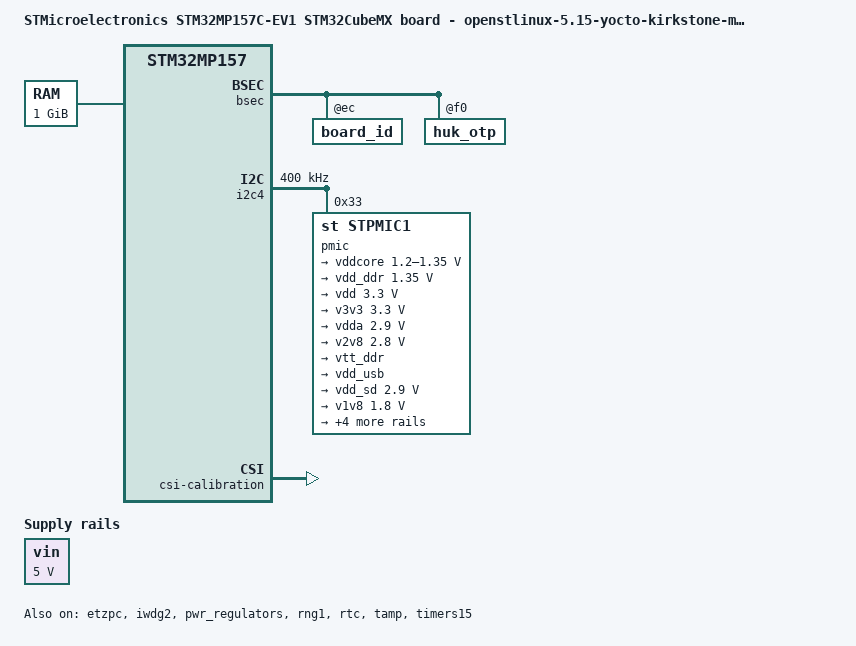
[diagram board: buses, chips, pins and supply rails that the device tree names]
/dts-v1/;
#include <dt-bindings/pinctrl/stm32-pinfunc.h>
#include <dt-bindings/clock/stm32mp1-clksrc.h>
#include <dt-bindings/soc/stm32mp15-etzpc.h>
#include "stm32mp157.dtsi"
#include "stm32mp15xc.dtsi"
#include "stm32mp15xxaa-pinctrl.dtsi"

/* USER CODE BEGIN includes */
#include <dt-bindings/power/stm32mp1-power.h>
/* USER CODE END includes */

/{
	model = "STMicroelectronics STM32MP157C-EV1 STM32CubeMX board - openstlinux-5.15-yocto-kirkstone-mp1-v22.06.15";
	compatible = "st,stm32mp157c-board_157c-ev1-mx", "st,stm32mp157";

	/* USER CODE BEGIN root */

	aliases{
		serial0 = &uart4;
	};

	vin:vin{
		compatible = "regulator-fixed";
		regulator-name = "vin";
		regulator-min-microvolt = <5000000>;
		regulator-max-microvolt = <5000000>;
		regulator-always-on;
	};

	chosen{
		stdout-path = "serial0:115200n8";
	};
	/* USER CODE END root */

	memory@c0000000{
		device_type = "memory";
		reg = <0xc0000000 0x40000000>;
	};

	reserved-memory{
		#address-cells = <1>;
		#size-cells = <1>;
		ranges;
	};

	clocks{

		clk_hsi:clk-hsi{
			clock-frequency = <64000000>;
		};

		clk_lse:clk-lse{
			clock-frequency = <32768>;
			st,drive = < LSEDRV_MEDIUM_HIGH >;
		};

		clk_hse:clk-hse{
			clock-frequency = <24000000>;
			st,digbypass;
		};
	};
};

&pinctrl{
	/* USER CODE BEGIN pinctrl */
	/* USER CODE END pinctrl */
};

&pinctrl_z{

	i2c4_pins_z_mx:i2c4_mx-0{

		pins{
			pinmux = <STM32_PINMUX('Z', 4, AF6)>,
					<STM32_PINMUX('Z', 5, AF6)>;
			bias-disable;
			drive-open-drain;
			slew-rate = <0>;
		};
	};
};

&bsec{
	status = "okay";

	/* USER CODE BEGIN bsec */

	board_id:board_id@ec{
		reg = <0xec 0x4>;
		st,non-secure-otp;
	};

	huk_otp:huk_otp@f0{
		reg = <0xf0 0x10>;
	};
	/* USER CODE END bsec */
};

&etzpc{
	status = "okay";
	st,decprot = <
	
	DECPROT(STM32MP1_ETZPC_CRYP1_ID, DECPROT_NS_RW, DECPROT_UNLOCK)
	DECPROT(STM32MP1_ETZPC_DCMI_ID, DECPROT_NS_RW, DECPROT_UNLOCK)
	DECPROT(STM32MP1_ETZPC_DFSDM_ID, DECPROT_NS_RW, DECPROT_UNLOCK)
	DECPROT(STM32MP1_ETZPC_DMA1_ID, DECPROT_NS_RW, DECPROT_UNLOCK)
	DECPROT(STM32MP1_ETZPC_DMA2_ID, DECPROT_NS_RW, DECPROT_UNLOCK)
	DECPROT(STM32MP1_ETZPC_DMAMUX_ID, DECPROT_NS_RW, DECPROT_UNLOCK)
	DECPROT(STM32MP1_ETZPC_ETH_ID, DECPROT_NS_RW, DECPROT_UNLOCK)
	DECPROT(STM32MP1_ETZPC_TT_FDCAN_ID, DECPROT_NS_RW, DECPROT_UNLOCK)
	DECPROT(STM32MP1_ETZPC_FMC_ID, DECPROT_NS_RW, DECPROT_UNLOCK)
	DECPROT(STM32MP1_ETZPC_HASH1_ID, DECPROT_NS_RW, DECPROT_UNLOCK)
	DECPROT(STM32MP1_ETZPC_CEC_ID, DECPROT_NS_RW, DECPROT_UNLOCK)
	DECPROT(STM32MP1_ETZPC_I2C2_ID, DECPROT_NS_RW, DECPROT_UNLOCK)
	DECPROT(STM32MP1_ETZPC_I2C4_ID, DECPROT_NS_RW, DECPROT_UNLOCK)
	DECPROT(STM32MP1_ETZPC_I2C5_ID, DECPROT_NS_RW, DECPROT_UNLOCK)
	DECPROT(STM32MP1_ETZPC_QSPI_ID, DECPROT_NS_RW, DECPROT_UNLOCK)
	DECPROT(STM32MP1_ETZPC_DLYBQ_ID, DECPROT_NS_RW, DECPROT_UNLOCK)
	DECPROT(STM32MP1_ETZPC_SAI2_ID, DECPROT_NS_RW, DECPROT_UNLOCK)
	DECPROT(STM32MP1_ETZPC_SAI4_ID, DECPROT_NS_RW, DECPROT_UNLOCK)
	DECPROT(STM32MP1_ETZPC_SPDIFRX_ID, DECPROT_NS_RW, DECPROT_UNLOCK)
	DECPROT(STM32MP1_ETZPC_TIM6_ID, DECPROT_NS_RW, DECPROT_UNLOCK)
	DECPROT(STM32MP1_ETZPC_UART4_ID, DECPROT_NS_RW, DECPROT_UNLOCK)
	DECPROT(STM32MP1_ETZPC_OTG_ID, DECPROT_NS_RW, DECPROT_UNLOCK)
	
	DECPROT(STM32MP1_ETZPC_DDRCTRL_ID, DECPROT_NS_R_S_W, DECPROT_LOCK)
	DECPROT(STM32MP1_ETZPC_DDRPHYC_ID, DECPROT_NS_R_S_W, DECPROT_LOCK)
	
	DECPROT(STM32MP1_ETZPC_RNG1_ID, DECPROT_S_RW, DECPROT_UNLOCK)
	DECPROT(STM32MP1_ETZPC_STGENC_ID, DECPROT_S_RW, DECPROT_UNLOCK)

	

	
	
	>;
};

&i2c4{
	pinctrl-names = "default";
	pinctrl-0 = <&i2c4_pins_z_mx>;
	status = "okay";

	/* USER CODE BEGIN i2c4 */
	compatible = "st,stm32mp15-i2c-non-secure";
	i2c-scl-rising-time-ns = <185>;
	i2c-scl-falling-time-ns = <20>;
	clock-frequency = <400000>;

	pmic:stpmic@33{
		compatible = "st,stpmic1";
		reg = <0x33>;
		interrupt-controller;
		#interrupt-cells = <2>;
		status = "okay";

		regulators{
			compatible = "st,stpmic1-regulators";
			buck1-supply = <&vin>;
			buck2-supply = <&vin>;
			buck3-supply = <&vin>;
			buck4-supply = <&vin>;
			ldo1-supply = <&v3v3>;
			ldo2-supply = <&v3v3>;
			ldo3-supply = <&vdd_ddr>;
			ldo4-supply = <&vin>;
			ldo5-supply = <&v3v3>;
			ldo6-supply = <&v3v3>;
			vref_ddr-supply = <&vin>;
			boost-supply = <&vin>;
			pwr_sw1-supply = <&bst_out>;
			pwr_sw2-supply = <&bst_out>;

			vddcore:buck1{
				regulator-name = "vddcore";
				regulator-min-microvolt = <1200000>;
				regulator-max-microvolt = <1350000>;
				regulator-always-on;
				regulator-initial-mode = <0>;
				regulator-over-current-protection;

				lp-stop{
					regulator-on-in-suspend;
					regulator-suspend-microvolt = <1200000>;
				};

				lplv-stop{
					regulator-on-in-suspend;
					regulator-suspend-microvolt = <900000>;
				};

				standby-ddr-sr{
					regulator-off-in-suspend;
				};

				standby-ddr-off{
					regulator-off-in-suspend;
				};
			};

			vdd_ddr:buck2{
				regulator-name = "vdd_ddr";
				regulator-min-microvolt = <1350000>;
				regulator-max-microvolt = <1350000>;
				regulator-always-on;
				regulator-initial-mode = <0>;
				regulator-over-current-protection;

				lp-stop{
					regulator-suspend-microvolt = <1350000>;
					regulator-on-in-suspend;
				};

				lplv-stop{
					regulator-suspend-microvolt = <1350000>;
					regulator-on-in-suspend;
				};

				standby-ddr-sr{
					regulator-suspend-microvolt = <1350000>;
					regulator-on-in-suspend;
				};

				standby-ddr-off{
					regulator-off-in-suspend;
				};
			};

			vdd:buck3{
				regulator-name = "vdd";
				regulator-min-microvolt = <3300000>;
				regulator-max-microvolt = <3300000>;
				regulator-always-on;
				st,mask-reset;
				regulator-initial-mode = <0>;
				regulator-over-current-protection;

				lp-stop{
					regulator-suspend-microvolt = <3300000>;
					regulator-on-in-suspend;
				};

				lplv-stop{
					regulator-suspend-microvolt = <3300000>;
					regulator-on-in-suspend;
				};

				standby-ddr-sr{
					regulator-suspend-microvolt = <3300000>;
					regulator-on-in-suspend;
				};

				standby-ddr-off{
					regulator-suspend-microvolt = <3300000>;
					regulator-on-in-suspend;
				};
			};

			v3v3:buck4{
				regulator-name = "v3v3";
				regulator-min-microvolt = <3300000>;
				regulator-max-microvolt = <3300000>;
				regulator-always-on;
				regulator-over-current-protection;
				regulator-initial-mode = <0>;

				standby-ddr-sr{
					regulator-off-in-suspend;
				};

				standby-ddr-off{
					regulator-off-in-suspend;
				};
			};

			vdda:ldo1{
				regulator-name = "vdda";
				regulator-min-microvolt = <2900000>;
				regulator-max-microvolt = <2900000>;

				standby-ddr-sr{
					regulator-off-in-suspend;
				};

				standby-ddr-off{
					regulator-off-in-suspend;
				};
			};

			v2v8:ldo2{
				regulator-name = "v2v8";
				regulator-min-microvolt = <2800000>;
				regulator-max-microvolt = <2800000>;

				standby-ddr-sr{
					regulator-off-in-suspend;
				};

				standby-ddr-off{
					regulator-off-in-suspend;
				};
			};

			vtt_ddr:ldo3{
				regulator-name = "vtt_ddr";
				regulator-always-on;
				regulator-over-current-protection;
				st,regulator-sink-source;

				lp-stop{
					regulator-off-in-suspend;
				};

				lplv-stop{
					regulator-off-in-suspend;
				};

				standby-ddr-sr{
					regulator-off-in-suspend;
				};

				standby-ddr-off{
					regulator-off-in-suspend;
				};
			};

			vdd_usb:ldo4{
				regulator-name = "vdd_usb";

				standby-ddr-sr{
					regulator-off-in-suspend;
				};

				standby-ddr-off{
					regulator-off-in-suspend;
				};
			};

			vdd_sd:ldo5{
				regulator-name = "vdd_sd";
				regulator-min-microvolt = <2900000>;
				regulator-max-microvolt = <2900000>;
				regulator-boot-on;

				standby-ddr-sr{
					regulator-off-in-suspend;
				};

				standby-ddr-off{
					regulator-off-in-suspend;
				};
			};

			v1v8:ldo6{
				regulator-name = "v1v8";
				regulator-min-microvolt = <1800000>;
				regulator-max-microvolt = <1800000>;
				regulator-enable-ramp-delay = <300000>;

				standby-ddr-sr{
					regulator-off-in-suspend;
				};

				standby-ddr-off{
					regulator-off-in-suspend;
				};
			};

			vref_ddr:vref_ddr{
				regulator-name = "vref_ddr";
				regulator-always-on;
				regulator-over-current-protection;

				lp-stop{
					regulator-on-in-suspend;
				};

				lplv-stop{
					regulator-on-in-suspend;
				};

				standby-ddr-sr{
					regulator-on-in-suspend;
				};

				standby-ddr-off{
					regulator-off-in-suspend;
				};
			};

			bst_out:boost{
				regulator-name = "bst_out";
			};

			vbus_otg:pwr_sw1{
				regulator-name = "vbus_otg";
			};

			vbus_sw:pwr_sw2{
				regulator-name = "vbus_sw";
				regulator-active-discharge = <1>;
			};
		};
	};
	/* USER CODE END i2c4 */
};

&iwdg2{
	status = "okay";

	/* USER CODE BEGIN iwdg2 */
	timeout-sec = <32>;
	secure-timeout-sec = <5>;
	/* USER CODE END iwdg2 */
};

&pwr_regulators{
	status = "okay";

	/* USER CODE BEGIN pwr_regulators */
	system_suspend_supported_soc_modes = <
		STM32_PM_CSLEEP_RUN
		STM32_PM_CSTOP_ALLOW_LP_STOP
		STM32_PM_CSTOP_ALLOW_LPLV_STOP
		STM32_PM_CSTOP_ALLOW_STANDBY_DDR_SR
	>;
	system_off_soc_mode = <STM32_PM_CSTOP_ALLOW_STANDBY_DDR_OFF>;
	vdd-supply = <&vdd>;
	vdd_3v3_usbfs-supply = <&vdd_usb>;
	/* USER CODE END pwr_regulators */
};

&rcc{
	status = "okay";
	clocks = <&clk_hse>, <&clk_hsi>, <&clk_lse>, <&clk_lsi>, <&clk_csi>;
	clock-names = "clk-hse", "clk-hsi", "clk-lse", "clk-lsi", "clk-csi";
	st,clksrc = <
		CLK_MPU_PLL1P
		CLK_AXI_PLL2P
		CLK_MCU_PLL3P
		CLK_PLL12_HSE
		CLK_PLL3_HSE
		CLK_PLL4_HSE
		CLK_RTC_LSE
		CLK_MCO1_DISABLED
		CLK_MCO2_DISABLED
	>;
	st,clkdiv = <
		1 		
		0 		
		0 		
		1 		
		1 		
		1 		
		1 		
		2 		
		23 		
		0 		
		0 		
	>;
	st,pkcs = <
		CLK_CKPER_DISABLED
		CLK_FMC_ACLK
		CLK_QSPI_ACLK
		CLK_ETH_PLL4P
		CLK_SDMMC12_PLL4P
		CLK_DSI_DSIPLL
		CLK_STGEN_HSE
		CLK_USBPHY_HSE
		CLK_SPI2S1_DISABLED
		CLK_SPI2S23_DISABLED
		CLK_SPI45_DISABLED
		CLK_SPI6_DISABLED
		CLK_I2C46_HSI
		CLK_SDMMC3_DISABLED
		CLK_USBO_USBPHY
		CLK_ADC_DISABLED
		CLK_CEC_LSE
		CLK_I2C12_HSI
		CLK_I2C35_PCLK1
		CLK_UART1_DISABLED
		CLK_UART24_HSI
		CLK_UART35_DISABLED
		CLK_UART6_DISABLED
		CLK_UART78_DISABLED
		CLK_SPDIF_PLL4P
		CLK_FDCAN_PLL4R
		CLK_SAI1_PLL3Q
		CLK_SAI2_PLL3Q
		CLK_SAI3_DISABLED
		CLK_SAI4_PLL3Q
		CLK_RNG1_CSI
		CLK_LPTIM1_DISABLED
		CLK_LPTIM23_DISABLED
		CLK_LPTIM45_DISABLED
	>;

	pll2:st,pll@1{
		compatible = "st,stm32mp1-pll";
		reg = <1>;
		cfg = < 2 65 1 0 0 PQR(1,1,1) >;
		frac = < 0x1400 >;
	};

	pll3:st,pll@2{
		compatible = "st,stm32mp1-pll";
		reg = <2>;
		cfg = < 1 33 1 16 36 PQR(1,1,0) >;
		frac = < 0x1a04 >;
	};

	pll4:st,pll@3{
		compatible = "st,stm32mp1-pll";
		reg = <3>;
		cfg = < 3 98 5 7 7 PQR(1,1,1) >;
	};
};

&rng1{
	status = "okay";
};

&rtc{
	status = "okay";
};

&tamp{
	status = "okay";
};

&timers15{
	status = "okay";

	/* USER CODE BEGIN timers15 */

	counter{
		status = "okay";
	};
	/* USER CODE END timers15 */
};

/* USER CODE BEGIN addons */

&cpu0{
	cpu-supply = <&vddcore>;
};

&osc_calibration{

	csi-calibration{
		status = "okay";
	};

	hsi-calibration{
		status = "okay";
	};
};

&cpu1{
	cpu-supply = <&vddcore>;
};
/* USER CODE END addons */
